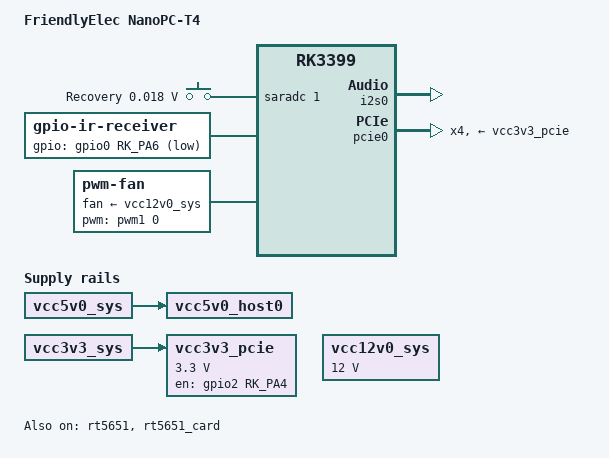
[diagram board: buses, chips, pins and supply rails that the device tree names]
// SPDX-License-Identifier: (GPL-2.0+ OR MIT)
/*
 * FriendlyElec NanoPC-T4 board device tree source
 *
 * Copyright (c) 2018 FriendlyElec Computer Tech. Co., Ltd.
 * (http://www.friendlyarm.com)
 *
 * Copyright (c) 2018 Collabora Ltd.
 */

/dts-v1/;
#include "rk3399-nanopi4.dtsi"

/ {
	model = "FriendlyElec NanoPC-T4";
	compatible = "friendlyelec,nanopc-t4", "rockchip,rk3399";

	vcc12v0_sys: vcc12v0-sys {
		compatible = "regulator-fixed";
		regulator-always-on;
		regulator-boot-on;
		regulator-max-microvolt = <12000000>;
		regulator-min-microvolt = <12000000>;
		regulator-name = "vcc12v0_sys";
	};

	vcc5v0_host0: vcc5v0-host0 {
		compatible = "regulator-fixed";
		regulator-always-on;
		regulator-boot-on;
		regulator-name = "vcc5v0_host0";
		vin-supply = <&vcc5v0_sys>;
	};

	vcc3v3_pcie: vcc3v3-pcie-regulator {
		compatible = "regulator-fixed";
		regulator-boot-on;
		regulator-min-microvolt = <3300000>;
		regulator-max-microvolt = <3300000>;
		regulator-name = "vcc3v3_pcie";
		enable-active-high;
		gpios = <&gpio2 RK_PA4 GPIO_ACTIVE_HIGH>;
		vin-supply = <&vcc3v3_sys>;
	};

	adc-keys {
		compatible = "adc-keys";
		io-channels = <&saradc 1>;
		io-channel-names = "buttons";
		keyup-threshold-microvolt = <1800000>;
		poll-interval = <100>;

		button-recovery {
			label = "Recovery";
			linux,code = <KEY_VENDOR>;
			press-threshold-microvolt = <18000>;
		};
	};

	ir-receiver {
		compatible = "gpio-ir-receiver";
		gpios = <&gpio0 RK_PA6 GPIO_ACTIVE_LOW>;
		pinctrl-names = "default";
		pinctrl-0 = <&ir_rx>;
	};

	fan: pwm-fan {
		compatible = "pwm-fan";
		/*
		 * With 20KHz PWM and an EVERCOOL EC4007H12SA fan, these levels
		 * work out to 0, ~1200, ~3000, and 5000RPM respectively.
		 */
		cooling-levels = <0 12 18 255>;
		#cooling-cells = <2>;
		fan-supply = <&vcc12v0_sys>;
		pwms = <&pwm1 0 50000 0>;
	};
};

&cpu_thermal {
	trips {
		cpu_warm: cpu_warm {
			temperature = <55000>;
			hysteresis = <2000>;
			type = "active";
		};

		cpu_hot: cpu_hot {
			temperature = <65000>;
			hysteresis = <2000>;
			type = "active";
		};
	};

	cooling-maps {
		map2 {
			trip = <&cpu_warm>;
			cooling-device = <&fan THERMAL_NO_LIMIT 1>;
		};

		map3 {
			trip = <&cpu_hot>;
			cooling-device = <&fan 2 THERMAL_NO_LIMIT>;
		};
	};
};

&mach {
	hwrev = <0>;
	model = "NanoPC-T4";
};

&i2s0_2ch_bus {
	rockchip,pins =
		<3 RK_PD0 1 &pcfg_pull_none>,
		<3 RK_PD1 1 &pcfg_pull_none>,
		<3 RK_PD2 1 &pcfg_pull_none>,
		<3 RK_PD3 1 &pcfg_pull_none>,
		<3 RK_PD7 1 &pcfg_pull_none>;
};

&i2s0 {
	status = "okay";
	pinctrl-names = "default";
	pinctrl-0 = <&i2s0_2ch_bus>;
	/delete-property/ pinctrl-1;
	rockchip,playback-channels = <2>;
	rockchip,capture-channels = <2>;
	#sound-dai-cells = <0>;
};

&i2s1 {
	status = "disabled";
};

&pcie0 {
	num-lanes = <4>;
	max-link-speed = <2>;
	vpcie3v3-supply = <&vcc3v3_pcie>;
};

&pinctrl {
	ir {
		ir_rx: ir-rx {
			/* external pullup to VCC3V3_SYS, despite being 1.8V :/ */
			rockchip,pins = <0 RK_PA6 1 &pcfg_pull_none>;
		};
	};
};

&rt5651 {
	status = "okay";
};

&rt5651_card {
	status = "okay";
	pinctrl-names = "default";
	pinctrl-0 = <&hp_det>;
	simple-audio-card,hp-det-gpio = <&gpio4 RK_PD4 GPIO_ACTIVE_HIGH>;
	simple-audio-card,cpu {
		sound-dai = <&i2s0>;
	};
};

&sdhci {
	mmc-hs400-1_8v;
	mmc-hs400-enhanced-strobe;
};

&u2phy0_host {
	phy-supply = <&vcc5v0_host0>;
};

&u2phy1_host {
	phy-supply = <&vcc5v0_host0>;
};

&vcc5v0_sys {
	vin-supply = <&vcc12v0_sys>;
};

&vcc3v3_sys {
	vin-supply = <&vcc12v0_sys>;
};

&vbus_typec {
	enable-active-high;
	gpios = <&gpio4 RK_PD2 GPIO_ACTIVE_HIGH>;
	vin-supply = <&vcc5v0_sys>;
};
